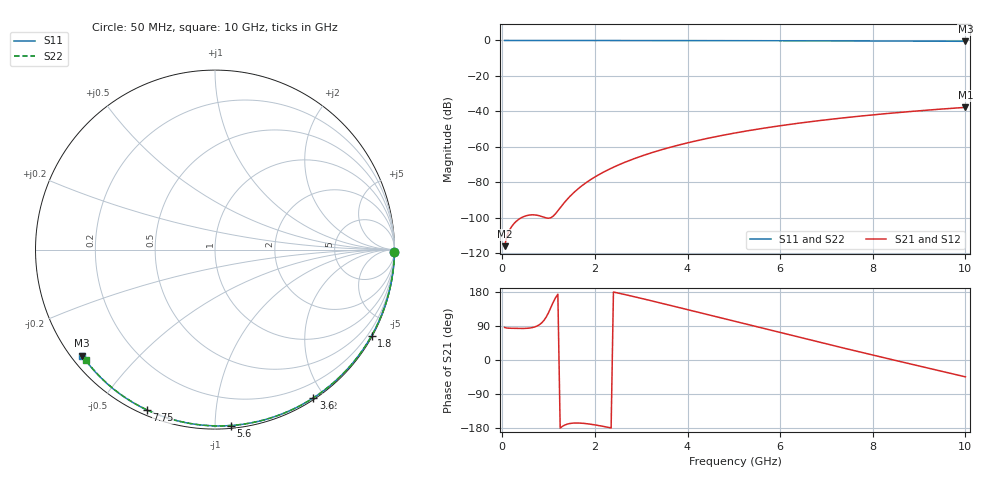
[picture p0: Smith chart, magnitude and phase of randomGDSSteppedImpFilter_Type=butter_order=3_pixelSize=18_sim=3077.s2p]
! freq	dB(S11)	phase(S11)	dB(S12)	phase(S12)
!  dB(S21)	phase(S21)	dB(S22)	phase(S22)
!S-par simulation data
#  GHz  S  DB  R 50
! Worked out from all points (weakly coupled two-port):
!   200 points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, 50 MHz to 10 GHz, reference 50 ohm
!   highest |S21| = -37.70 dB at 10 GHz (marker M1); lowest = -115.9 dB at 50 MHz (marker M2)
!   lowest |S11| = -0.5 dB at 10 GHz (marker M3), VSWR 36.73, Z = 1.53 - j17.5 ohm
!   |S11| at or under -10 dB: nowhere
!   |S22| runs from -0.5 to 0.0 dB; largest |S21 - S12| = 0
!   S11 on the Smith chart (normalised r, x): 50 MHz: open; 1.8 GHz: 0.03, -3.88; 3.6 GHz: 0.02, -1.87; 5.6 GHz: 0.02, -1.09; 7.75 GHz: 0.02, -0.66; 10 GHz: 0.03, -0.35
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0.05  -0.00 -0.8  -115.91 85.9  -115.91 85.9  -0.00 -0.8
0.45  -0.01 -7.3  -99.39 83.2  -99.39 83.2  -0.01 -7.3
0.9  -0.02 -14.6  -99.62 104.6  -99.62 104.6  -0.02 -14.5
1.75  -0.04 -28.1  -81.26 -167.1  -81.26 -167.1  -0.04 -27.9
1.8  -0.04 -28.9  -80.31 -167.8  -80.31 -167.8  -0.04 -28.7
1.85  -0.04 -29.7  -79.41 -168.5  -79.41 -168.5  -0.04 -29.4
2  -0.04 -32.0  -76.92 -171.2  -76.92 -171.2  -0.04 -31.8
2.15  -0.04 -34.4  -74.68 -174.5  -74.68 -174.5  -0.04 -34.1
2.35  -0.05 -37.5  -72.04 -179.4  -72.04 -179.4  -0.05 -37.2
2.55  -0.05 -40.5  -69.69 175.4  -69.69 175.4  -0.05 -40.2
2.95  -0.06 -46.6  -65.65 164.1  -65.65 164.1  -0.06 -46.3
3.4  -0.07 -53.4  -61.87 150.9  -61.87 150.9  -0.07 -53.0
3.6  -0.08 -56.4  -60.38 144.9  -60.38 144.9  -0.08 -56.0
4.3  -0.09 -66.6  -55.91 123.8  -55.91 123.8  -0.09 -66.1
5.05  -0.12 -77.2  -52.02 101.0  -52.02 101.0  -0.12 -76.6
5.6  -0.14 -84.8  -49.62 84.4  -49.62 84.4  -0.14 -84.1
6.15  -0.16 -92.2  -47.50 67.8  -47.50 67.8  -0.16 -91.5
6.7  -0.19 -99.5  -45.63 51.4  -45.63 51.4  -0.19 -98.7
7.75  -0.26 -113.1  -42.57 20.4  -42.57 20.4  -0.26 -112.0
8.35  -0.31 -120.6  -41.08 2.9  -41.08 2.9  -0.31 -119.4
9.2  -0.39 -131.3  -39.22 -21.6  -39.22 -21.6  -0.38 -129.8
10  -0.47 -141.3  -37.70 -44.4  -37.70 -44.4  -0.47 -139.6
